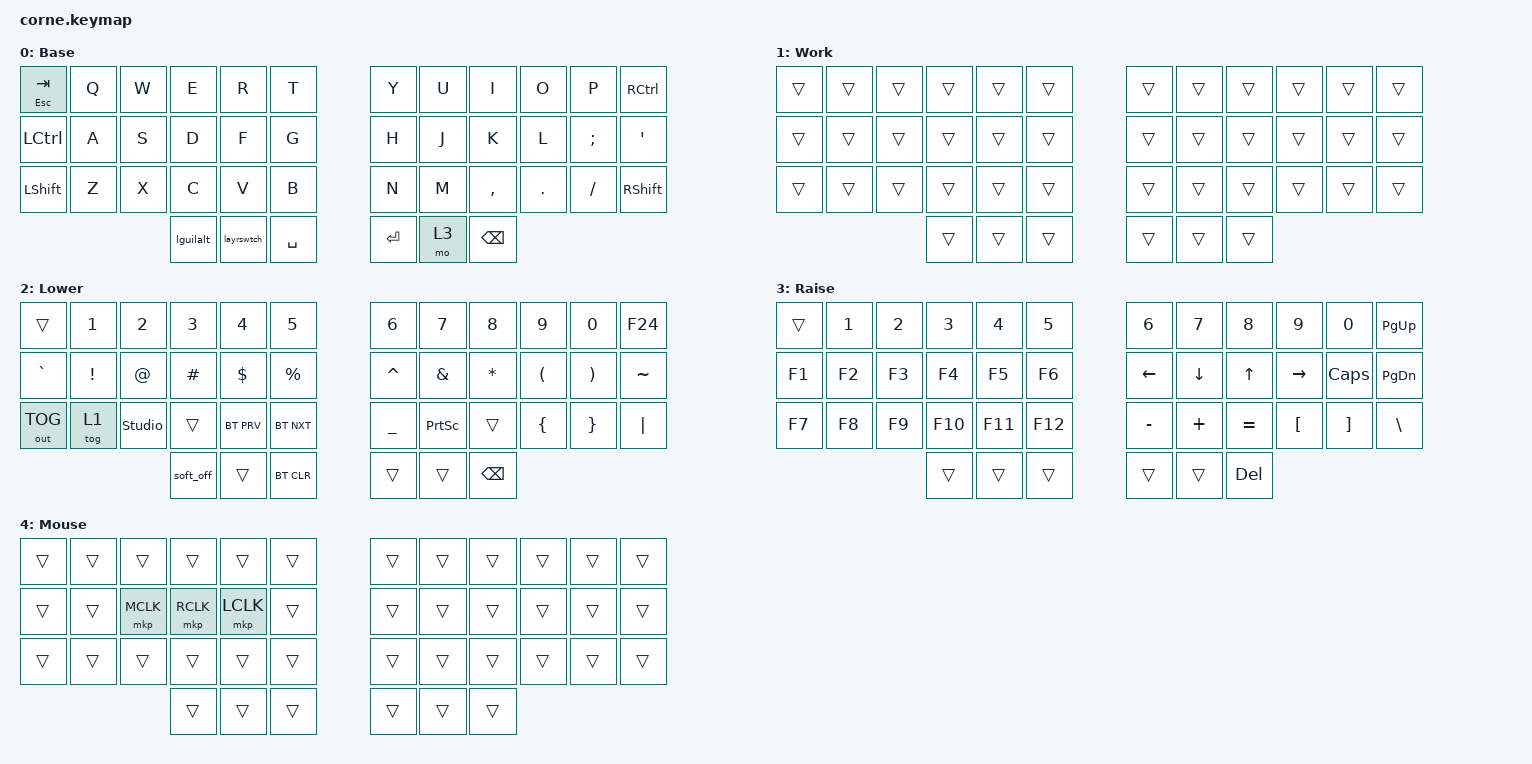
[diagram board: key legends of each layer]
/*
 * Copyright (c) 2020 The ZMK Contributors
 *
 * SPDX-License-Identifier: MIT
 */

#include <behaviors.dtsi>
#include <dt-bindings/zmk/keys.h>
#include <dt-bindings/zmk/bt.h>
#include <dt-bindings/zmk/outputs.h>
#include <dt-bindings/zmk/pointing.h>
#include <input/processors.dtsi>

// Moving the trackball turns on the Mouse layer until it has been still for 800 ms.
// It stays off while typing (200 ms idle), and any key other than the clicks and
// modifiers turns it off, so typing resumes straight away.
&zip_temp_layer {
    require-prior-idle-ms = <200>;
    //                     RCTRL LCTRL S  D  F  LSHFT RSHFT GUI/ALT
    excluded-positions = <11    12    14 15 16 24    35    36>;
};

&trackball_listener {
    input-processors = <&zip_temp_layer 4 800>;

    // Hold Raise and roll to scroll
    scroll {
        layers = <3>;
        input-processors = <&zip_xy_to_scroll_mapper &zip_scroll_scaler 1 4>;
    };

    // Hold Lower and roll for slow, precise movement
    precise {
        layers = <2>;
        input-processors = <&zip_xy_scaler 1 3>;
    };
};

&soft_off {
    hold-time-ms = <3000>; // Only turn off if the key is held for 3 seconds or longer.
    /delete-property/ split-peripheral-off-on-press; // Apply the hold time to the right half too.
};

&mt {
    tapping-term-ms = <200>;
};

/ {
        behaviors {
            lguilalt: tap_dance_0 {
                compatible = "zmk,behavior-tap-dance";
                #binding-cells = <0>;
                tapping-term-ms = <300>;
                bindings = <&kp LGUI>, <&kp LALT>;
            };

            layrswtch: tap_dance_1 {
                compatible = "zmk,behavior-tap-dance";
                #binding-cells = <0>;
                tapping-term-ms = <300>;
                bindings = <&mo 2>, <&mo 3>;
            };
        };

        keymap {
                compatible = "zmk,keymap";

                default_layer {
                    display-name = "Base";
// -----------------------------------------------------------------------------------------
// | TAB/ESC |  Q  |  W  |  E  |  R  |  T  |   |  Y  |  U   |   I   |  O  |  P  | RCTRL |
// | CTRL    |  A  |  S  |  D  |  F  |  G  |   |  H  |  J   |   K   |  L  |  ;  |  '   |
// | SHFT    |  Z  |  X  |  C  |  V  |  B  |   |  N  |  M   |   ,   |  .  |  /  | SHFT |
//                       |TPD0 |LOWER| SPC |   | ENT |RAISE | BSPC  |
                    bindings = <
   &mt ESC TAB  &kp Q  &kp W  &kp E     &kp R       &kp T           &kp Y   &kp U  &kp I     &kp O   &kp P    &kp RCTRL
   &kp LCTRL    &kp A  &kp S  &kp D     &kp F       &kp G           &kp H   &kp J  &kp K     &kp L   &kp SEMI &kp SQT
   &kp LSHFT    &kp Z  &kp X  &kp C     &kp V       &kp B           &kp N   &kp M  &kp COMMA &kp DOT &kp FSLH &kp RSHIFT
                              &lguilalt &layrswtch  &kp SPACE       &kp RET &mo 3  &kp BSPC
                    >;
                };

                work_layer {
                    display-name = "Work";
// Toggled from Lower. Starts all transparent; customise with ZMK Studio.
                    bindings = <
   &trans &trans &trans &trans &trans &trans   &trans &trans &trans &trans &trans &trans
   &trans &trans &trans &trans &trans &trans   &trans &trans &trans &trans &trans &trans
   &trans &trans &trans &trans &trans &trans   &trans &trans &trans &trans &trans &trans
                 &trans &trans &trans   &trans &trans &trans
                    >;
                };

                lower_layer {
                    display-name = "Lower";
// -----------------------------------------------------------------------------------------
// |     |  1  |  2  |  3  |  4  |  5  |   |  6  |  7  |  8  |  9  |  0  | F24 |
// |  `  |  !  |  @  |  #  |  $  |  %  |   |  ^  |  &  |  *  |  (  |  )  |  ~  |
// | TOG |WORK |STUDI|     |BT_PV|BT_NT|   |  _  |PSCRN|     |  {  |  }  | "|" |
//                   |STOFF|     |BTCLR|   |     |     | BSPC|
                    bindings = <
   &trans       &kp N1     &kp N2     &kp N3       &kp N4       &kp N5              &kp N6      &kp N7    &kp N8    &kp N9    &kp N0   &kp F24
   &kp GRAVE    &kp EXCL   &kp AT     &kp HASH     &kp DLLR     &kp PRCNT           &kp CARET   &kp AMPS  &kp ASTRK &kp LPAR  &kp RPAR &kp TILDE
   &out OUT_TOG &tog 1     &studio_unlock &trans       &bt BT_PRV   &bt BT_NXT          &kp UNDER   &kp PSCRN &trans    &kp LBRC  &kp RBRC &kp PIPE
                                      &soft_off    &trans       &bt BT_CLR           &trans      &trans    &kp BSPC
                    >;
                };

                raise_layer {
                    display-name = "Raise";
// -----------------------------------------------------------------------------------------
// |     |  1  |  2  |  3  |  4  |  5  |   |  6  |  7  |  8  |  9  |  0  | PG_UP |
// | F1  | F2  | F3  | F4  | F5  | F6  |   | <-  |  v  |  ^  | ->  | CAPS| PG_DN |
// | F7  | F8  | F9  | F10 | F11 | F12 |   |  -  |  +  |  =  |  [  |  ]  |   \   |
//                   |     |     |     |   |     |     | DEL |
                    bindings = <
   &trans    &kp N1   &kp N2 &kp N3   &kp N4   &kp N5        &kp N6    &kp N7    &kp N8    &kp N9    &kp N0   &kp PG_UP
   &kp F1    &kp F2   &kp F3 &kp F4   &kp F5   &kp F6        &kp LEFT  &kp DOWN  &kp UP    &kp RIGHT &kp CAPS &kp PG_DN
   &kp F7    &kp F8   &kp F9 &kp F10  &kp F11  &kp F12       &kp MINUS &kp PLUS  &kp EQUAL &kp LBKT  &kp RBKT &kp BSLH
                             &trans   &trans   &trans        &trans    &trans    &kp DEL
                    >;
                };

                mouse_layer {
                    display-name = "Mouse";
// Turned on by trackball movement. The ball's own button is also a left click.
// -----------------------------------------------------------------------------------------
// |     |     |     |     |     |     |   |     |     |     |     |     |     |
// |     |     | MMB | RMB | LMB |     |   |     |     |     |     |     |     |
// |     |     |     |     |     |     |   |     |     |     |     |     |     |
//                   |     |     |     |   |     |     |     |
                    bindings = <
   &trans &trans &trans    &trans    &trans    &trans   &trans &trans &trans &trans &trans &trans
   &trans &trans &mkp MCLK &mkp RCLK &mkp LCLK &trans   &trans &trans &trans &trans &trans &trans
   &trans &trans &trans    &trans    &trans    &trans   &trans &trans &trans &trans &trans &trans
                           &trans    &trans    &trans   &trans &trans &trans
                    >;
                };
        };
};
